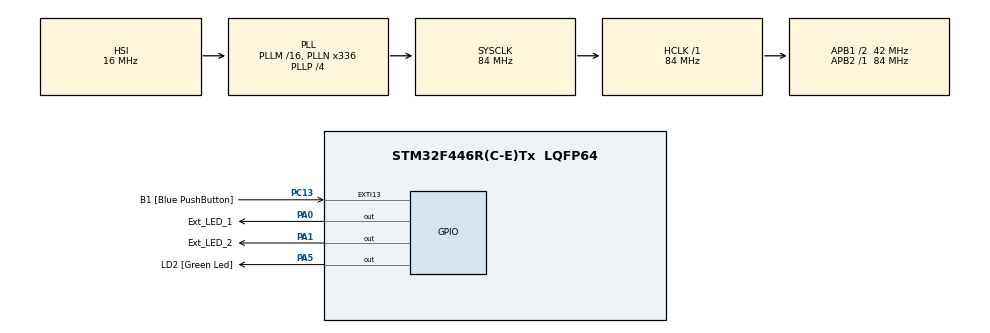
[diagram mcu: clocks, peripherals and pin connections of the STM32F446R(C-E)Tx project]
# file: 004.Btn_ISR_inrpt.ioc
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Mcu.Family=STM32F4
Mcu.Name=STM32F446R(C-E)Tx
Mcu.Package=LQFP64
NVIC.EXTI15_10_IRQn=true\:6\:0\:true\:false\:true\:true\:true\:true
NVIC.PriorityGroup=NVIC_PRIORITYGROUP_4
NVIC.TIM6_DAC_IRQn=true\:0\:0\:false\:false\:true\:false\:true\:true
NVIC.TimeBase=TIM6_DAC_IRQn
NVIC.TimeBaseIP=TIM6
PA0-WKUP.GPIO_Label=Ext_LED_1
PA0-WKUP.Signal=GPIO_Output
PA1.GPIO_Label=Ext_LED_2
PA1.Signal=GPIO_Output
PA13.GPIO_Label=TMS
PA13.Signal=SYS_JTMS-SWDIO
PA14.GPIO_Label=TCK
PA14.Signal=SYS_JTCK-SWCLK
PA2.GPIO_Label=USART_TX
PA2.Signal=USART2_TX
PA3.GPIO_Label=USART_RX
PA3.Signal=USART2_RX
PA5.GPIO_Label=LD2 [Green Led]
PA5.Signal=GPIO_Output
PB3.GPIO_Label=SWO
PB3.Signal=SYS_JTDO-SWO
PC13.GPIO_Label=B1 [Blue PushButton]
PC13.GPIO_ModeDefaultEXTI=GPIO_MODE_IT_FALLING
PC13.Signal=GPXTI13
PC14-OSC32_IN.Signal=RCC_OSC32_IN
PC15-OSC32_OUT.Signal=RCC_OSC32_OUT
PH0-OSC_IN.Signal=RCC_OSC_IN
PH1-OSC_OUT.Signal=RCC_OSC_OUT
ProjectManager.HeapSize=0x200
ProjectManager.StackSize=0x400
ProjectManager.TargetToolchain=STM32CubeIDE
RCC.AHBFreq_Value=84000000
RCC.APB1CLKDivider=RCC_HCLK_DIV2
RCC.APB1Freq_Value=42000000
RCC.APB1TimFreq_Value=84000000
RCC.APB2Freq_Value=84000000
RCC.APB2TimFreq_Value=84000000
RCC.CortexFreq_Value=84000000
RCC.FLatency-AdvancedSettings=FLASH_LATENCY_2
RCC.HCLKFreq_Value=84000000
RCC.HSE_VALUE=8000000
RCC.HSI_VALUE=16000000
RCC.LSE_VALUE=32768
RCC.PLLN=336
RCC.PLLP=RCC_PLLP_DIV4
RCC.SYSCLKFreq_VALUE=84000000
RCC.SYSCLKSource=RCC_SYSCLKSOURCE_PLLCLK
RCC.USBFreq_Value=168000000
RCC.VCOOutputFreq_Value=336000000
VP_SYS_VS_tim6.Mode=TIM6
board=NUCLEO-F446RE

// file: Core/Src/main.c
/* USER CODE BEGIN Header */
/**
  ******************************************************************************
  * @file           : main.c
  * @brief          : Main program body
  ******************************************************************************
  * @attention
  *
  * Copyright (c) 2025 STMicroelectronics.
  * All rights reserved.
  *
  * This software is licensed under terms that can be found in the LICENSE file
  * in the root directory of this software component.
  * If no LICENSE file comes with this software, it is provided AS-IS.
  *
  ******************************************************************************
  */
/* USER CODE END Header */
#include "main.h"

/* USER CODE BEGIN Includes */

#include <stdio.h>
#include "FreeRTOS.h"
#include "task.h"

/* USER CODE END Includes */

/* USER CODE BEGIN PV */

#define DWT_CTRL		(*(volatile uint32_t*)0xE0001000)

volatile uint8_t task_count =0;

/* USER CODE END PV */

void SystemClock_Config(void);
static void MX_GPIO_Init(void);
/* USER CODE BEGIN PFP */

static void Ext_LED1_task(void *parameter);
static void Ext_LED2_task(void *parameter);
static void Ext_LED3_task(void *parameter);

extern void SEGGER_UART_init(uint32_t);

TaskHandle_t Led1_task = NULL;
TaskHandle_t Led2_task = NULL;
TaskHandle_t Led3_task = NULL;
TaskHandle_t Btn_task = NULL;

TaskHandle_t volatile next_task_handle = NULL;

/* USER CODE END PFP */

int main(void)
{

  /* USER CODE BEGIN 1 */
	BaseType_t status;

  /* USER CODE END 1 */

  /* MCU Configuration--------------------------------------------------------*/

  /* Reset of all peripherals, Initializes the Flash interface and the Systick. */
  HAL_Init();

  /* Configure the system clock */
  SystemClock_Config();

  /* Initialize all configured peripherals */
  MX_GPIO_Init();
  /* USER CODE BEGIN 2 */

  SEGGER_UART_init(500000);

  //Enable the CYCCNT (Cyclic Clock Counter)
  DWT_CTRL |= (1 << 0);

  SEGGER_SYSVIEW_Conf();
  //SEGGER_SYSVIEW_Start(); // this is initialized in SEGGER_UART_Init();

  status = xTaskCreate(Ext_LED1_task, "LED1_Task", 200, NULL, 3, &Led1_task);
  configASSERT(status == pdPASS);

  next_task_handle = Led1_task;

  status = xTaskCreate(Ext_LED2_task, "LED2_Task", 200, NULL, 2, &Led2_task);
  configASSERT(status == pdPASS);

  status = xTaskCreate(Ext_LED3_task, "LED3_Task", 200, NULL, 1, &Led3_task);
  configASSERT(status == pdPASS);

  //Start scheduler
  vTaskStartScheduler();

  /* USER CODE END 2 */

  /* Infinite loop */
  while (1)
  {

  }
}

void SystemClock_Config(void)
{
  RCC_OscInitTypeDef RCC_OscInitStruct = {0};
  RCC_ClkInitTypeDef RCC_ClkInitStruct = {0};

  /** Configure the main internal regulator output voltage
  */
  __HAL_RCC_PWR_CLK_ENABLE();
  __HAL_PWR_VOLTAGESCALING_CONFIG(PWR_REGULATOR_VOLTAGE_SCALE3);

  /** Initializes the RCC Oscillators according to the specified parameters
  * in the RCC_OscInitTypeDef structure.
  */
  RCC_OscInitStruct.OscillatorType = RCC_OSCILLATORTYPE_HSI;
  RCC_OscInitStruct.HSIState = RCC_HSI_ON;
  RCC_OscInitStruct.HSICalibrationValue = RCC_HSICALIBRATION_DEFAULT;
  RCC_OscInitStruct.PLL.PLLState = RCC_PLL_ON;
  RCC_OscInitStruct.PLL.PLLSource = RCC_PLLSOURCE_HSI;
  RCC_OscInitStruct.PLL.PLLM = 16;
  RCC_OscInitStruct.PLL.PLLN = 336;
  RCC_OscInitStruct.PLL.PLLP = RCC_PLLP_DIV4;
  RCC_OscInitStruct.PLL.PLLQ = 2;
  RCC_OscInitStruct.PLL.PLLR = 2;
  if (HAL_RCC_OscConfig(&RCC_OscInitStruct) != HAL_OK)
  {
    Error_Handler();
  }

  /** Initializes the CPU, AHB and APB buses clocks
  */
  RCC_ClkInitStruct.ClockType = RCC_CLOCKTYPE_HCLK|RCC_CLOCKTYPE_SYSCLK
                              |RCC_CLOCKTYPE_PCLK1|RCC_CLOCKTYPE_PCLK2;
  RCC_ClkInitStruct.SYSCLKSource = RCC_SYSCLKSOURCE_PLLCLK;
  RCC_ClkInitStruct.AHBCLKDivider = RCC_SYSCLK_DIV1;
  RCC_ClkInitStruct.APB1CLKDivider = RCC_HCLK_DIV2;
  RCC_ClkInitStruct.APB2CLKDivider = RCC_HCLK_DIV1;

  if (HAL_RCC_ClockConfig(&RCC_ClkInitStruct, FLASH_LATENCY_2) != HAL_OK)
  {
    Error_Handler();
  }
}

static void MX_GPIO_Init(void)
{
  GPIO_InitTypeDef GPIO_InitStruct = {0};

  /* GPIO Ports Clock Enable */
  __HAL_RCC_GPIOC_CLK_ENABLE();
  __HAL_RCC_GPIOH_CLK_ENABLE();
  __HAL_RCC_GPIOA_CLK_ENABLE();
  __HAL_RCC_GPIOB_CLK_ENABLE();

  /*Configure GPIO pin Output Level */
  HAL_GPIO_WritePin(GPIOA, Ext_LED_1_Pin|Ext_LED_2_Pin|LD2_Pin, GPIO_PIN_RESET);

  /*Configure GPIO pin : B1_Pin */
  GPIO_InitStruct.Pin = B1_Pin;
  GPIO_InitStruct.Mode = GPIO_MODE_IT_FALLING;
  GPIO_InitStruct.Pull = GPIO_NOPULL;
  HAL_GPIO_Init(B1_GPIO_Port, &GPIO_InitStruct);

  /*Configure GPIO pins : Ext_LED_1_Pin Ext_LED_2_Pin LD2_Pin */
  GPIO_InitStruct.Pin = Ext_LED_1_Pin|Ext_LED_2_Pin|LD2_Pin;
  GPIO_InitStruct.Mode = GPIO_MODE_OUTPUT_PP;
  GPIO_InitStruct.Pull = GPIO_NOPULL;
  GPIO_InitStruct.Speed = GPIO_SPEED_FREQ_LOW;
  HAL_GPIO_Init(GPIOA, &GPIO_InitStruct);

  /*Configure GPIO pins : USART_TX_Pin USART_RX_Pin */
  GPIO_InitStruct.Pin = USART_TX_Pin|USART_RX_Pin;
  GPIO_InitStruct.Mode = GPIO_MODE_AF_PP;
  GPIO_InitStruct.Pull = GPIO_NOPULL;
  GPIO_InitStruct.Speed = GPIO_SPEED_FREQ_VERY_HIGH;
  GPIO_InitStruct.Alternate = GPIO_AF7_USART2;
  HAL_GPIO_Init(GPIOA, &GPIO_InitStruct);

  /* EXTI interrupt init*/
  HAL_NVIC_SetPriority(EXTI15_10_IRQn, 6, 0);
  HAL_NVIC_EnableIRQ(EXTI15_10_IRQn);

}

/* USER CODE BEGIN 4 */

void Btn_Interrupt(void)
{
	BaseType_t xHigherPriorityTaskWoken;
	xHigherPriorityTaskWoken = pdFALSE;

	xTaskNotifyFromISR(next_task_handle,0,eNoAction,&xHigherPriorityTaskWoken);
}

static void Ext_LED1_task(void *parameter)
{

	BaseType_t status;
	while(1)
	{
	SEGGER_SYSVIEW_PrintfTarget("LED1_Toggling");
	HAL_GPIO_TogglePin(GPIOA, GPIO_PIN_0);
	status = xTaskNotifyWait(0,0,NULL,pdMS_TO_TICKS(1000));

		if(status == pdTRUE)
		{
			portENTER_CRITICAL();
			next_task_handle = Led2_task;
			HAL_GPIO_WritePin(GPIOA, GPIO_PIN_0, GPIO_PIN_SET);
			portEXIT_CRITICAL();
			vTaskDelete(NULL); // if we want delete task running task parameter should be NULL

		}
	}
}
static void Ext_LED2_task(void *parameter)
{
	BaseType_t status;
	while(1){
	SEGGER_SYSVIEW_PrintfTarget("LED2_Toggling");
	HAL_GPIO_TogglePin(GPIOA, GPIO_PIN_1);
	status = xTaskNotifyWait(0,0,NULL,pdMS_TO_TICKS(800));

		if(status == pdTRUE)
		{
			portENTER_CRITICAL();
			next_task_handle = Led3_task;
			HAL_GPIO_WritePin(GPIOA, GPIO_PIN_1, GPIO_PIN_SET);
			portEXIT_CRITICAL();
			vTaskDelete(NULL);

		}
	}
}
static void Ext_LED3_task(void *parameter)
{
	BaseType_t status;
	while(1){
	SEGGER_SYSVIEW_PrintfTarget("LED3_Toggling");
	HAL_GPIO_TogglePin(GPIOA, GPIO_PIN_5);
	status = xTaskNotifyWait(0,0,NULL,pdMS_TO_TICKS(400));

		if(status == pdTRUE)
		{
			portENTER_CRITICAL();
			next_task_handle = NULL;
			HAL_GPIO_WritePin(GPIOA, GPIO_PIN_5, GPIO_PIN_SET);
			portEXIT_CRITICAL();
			vTaskDelete(NULL);
		}
	}
}

/* USER CODE END 4 */

void HAL_TIM_PeriodElapsedCallback(TIM_HandleTypeDef *htim)
{
  if (htim->Instance == TIM6) {
    HAL_IncTick();
  }
}

void Error_Handler(void)
{
  __disable_irq();
  while (1)
  {
  }
}
